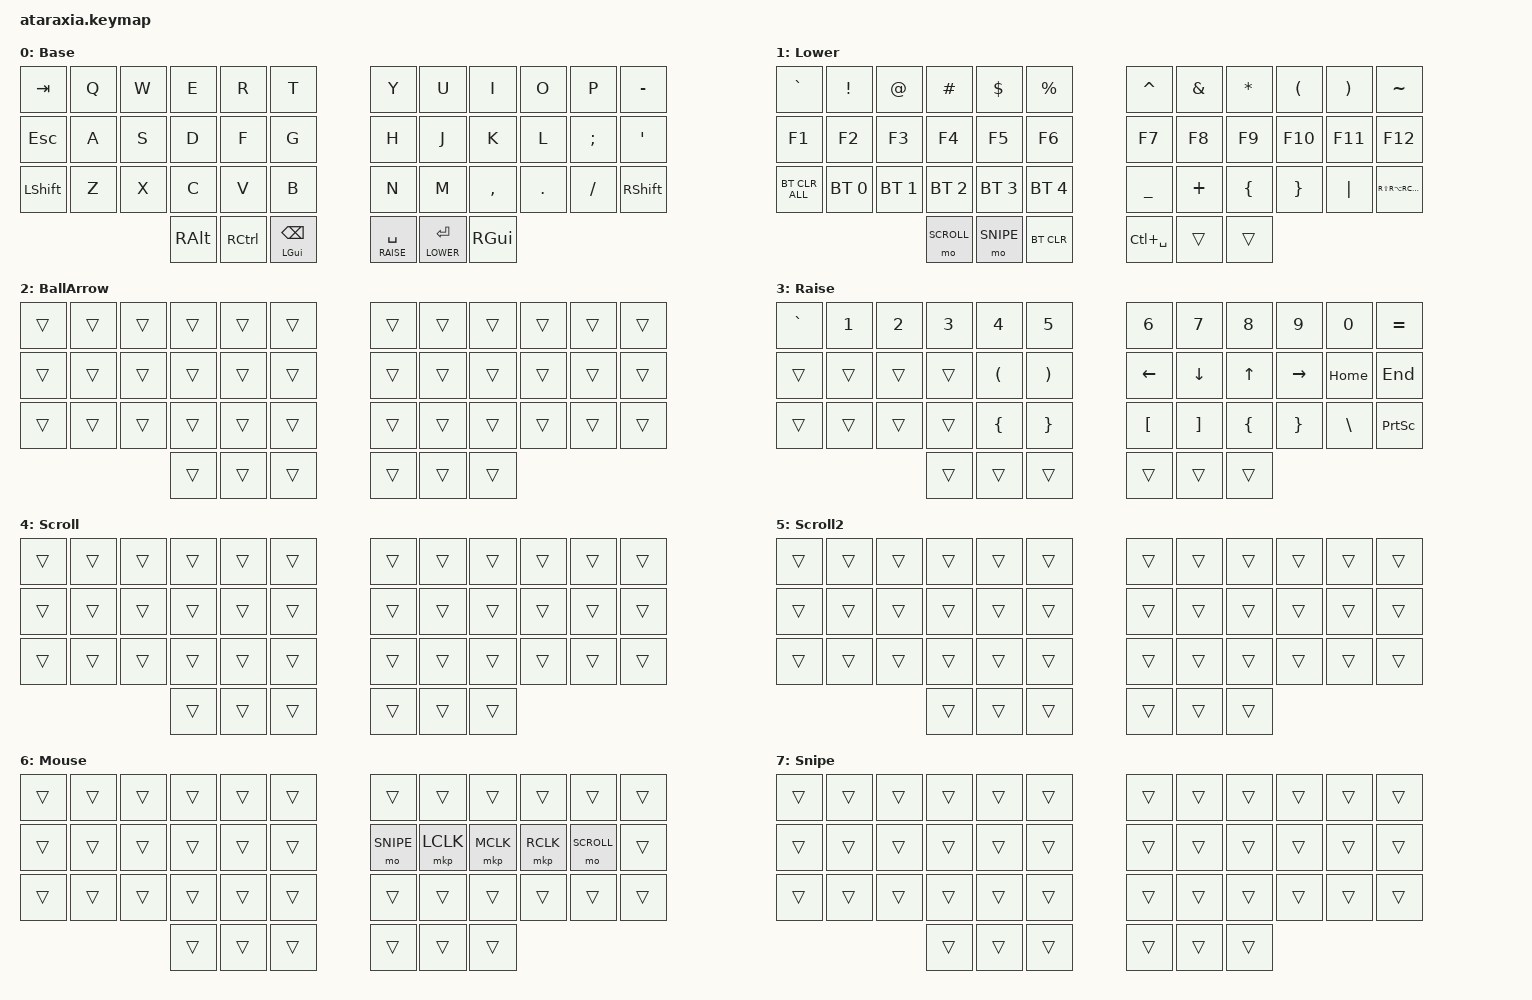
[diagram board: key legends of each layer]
/*
 * Ataraxia v2 (42 keys + PMW3610 trackball)
 *
 * Adapted from the author's Lily58 keymap. The Lily58's bottom three rows map
 * 1:1 onto the Ataraxia's three rows of twelve, so the alphas are untouched.
 * What did not fit -- the number row, the two inner bottom keys and two of the
 * eight thumb keys -- is rehomed on LOWER and RAISE, see the notes below.
 *
 * SPDX-License-Identifier: MIT
 */

#include <input/processors.dtsi>
#include <behaviors.dtsi>
#include <dt-bindings/zmk/bt.h>
#include <dt-bindings/zmk/keys.h>
#include <dt-bindings/zmk/pointing.h>

/*
 * ---------------------------------------------------------------------------
 * LAYER INDICES ARE NOT FREE.
 * ---------------------------------------------------------------------------
 * The PMW3610 driver -- not the input listener -- implements scroll, sniping
 * and ball-as-arrows, and the shield hard-codes which layer index triggers
 * each one. From zmk-keyboards-ataraxia@ataraxia_v2,
 * boards/shields/ataraxia/boards/nice_nano_v2.overlay:
 *
 *     // automouse-layer = <5>;   <- commented out upstream, so unavailable
 *     snipe-layers  = <7>;
 *     scroll-layers = <4 5>;
 *     arrows { layers = <2>; bindings = <&kp RIGHT>, <&kp LEFT>, ... };
 *
 * So SCROLL must be 4 and SNIPE must be 7 to get those behaviours for free.
 * Layer 2 would turn the ball into arrow keys, which is not wanted on a layer
 * held as often as RAISE -- it is left reserved instead. Renumbering these
 * silently changes what the trackball does.
 * ---------------------------------------------------------------------------
 */

#define BASE    0
#define LOWER   1

/*      (2)     reserved -- driver maps ball to arrow keys here */

#define RAISE   3
#define SCROLL  4

/*      (5)     reserved -- driver treats this as a scroll layer too */

#define MOUSE   6
#define SNIPE   7

/* The two hyper keys carried over from the Lily58 layout. */

#define HYP_L   LS(LC(LG(LALT)))
#define HYP_R   RS(RA(RC(RGUI)))

&mt { tapping-term-ms = <180>; };

&lt { tapping-term-ms = <180>; };

/*
 * Moving the ball temporarily activates MOUSE so the right home row becomes
 * mouse buttons. require-prior-idle-ms keeps it from firing mid-word: the ball
 * has to be still for 150ms after the last keystroke before it can take over.
 */

&zip_temp_layer { require-prior-idle-ms = <150>; };

/*
 * The shield declares this listener without a node label, so it can only be
 * reached by path. It sets `input-processors = <&pointer_accel>` -- keep that
 * first so the acceleration curve tuned in the shield still applies.
 */

&{/trackball_listener} {
    input-processors = <&pointer_accel>, <&zip_temp_layer MOUSE 350>;
};

/ {
    combos {
        compatible = "zmk,combos";

        /* Kept from the stock keymap: flash without the reset button. */

        combo_bootloader {
            timeout-ms = <100>;
            key-positions = <2 3 8 9>;
            bindings = <&bootloader>;
        };
    };

    keymap {
        compatible = "zmk,keymap";

        /* ----------------------------------------------------------------
         * 0 BASE -- the Lily58 alpha block, unchanged.
         *
         * Thumbs condense the Lily58's eight into six: the duplicate raise
         * key (&mo 2) is gone, and RET became a layer-tap so LOWER has a
         * home -- on the Lily58 nothing bound &mo 1 and Lower was dead.
         * ---------------------------------------------------------------- */

        base_layer {
            display-name = "Base";
            bindings = <
&kp TAB    &kp Q  &kp W  &kp E     &kp R      &kp T          &kp Y            &kp U          &kp I      &kp O    &kp P     &kp MINUS
&kp ESC    &kp A  &kp S  &kp D     &kp F      &kp G          &kp H            &kp J          &kp K      &kp L    &kp SEMI  &kp SQT
&kp LSHFT  &kp Z  &kp X  &kp C     &kp V      &kp B          &kp N            &kp M          &kp COMMA  &kp DOT  &kp FSLH  &kp RSHFT
                         &kp RALT  &kp RCTRL  &mt LGUI BSPC  &lt RAISE SPACE  &lt LOWER RET  &kp RGUI
            >;
        };

        /* ----------------------------------------------------------------
         * 1 LOWER -- the Lily58 Lower layer folded from four rows into three.
         *
         * Rehomed here: both hyper keys on the outer bottom corners, and
         * LC(SPACE) on Lower + the Space thumb.
         * Left thumbs reach the two trackball modes.
         * ---------------------------------------------------------------- */

        lower_layer {
            display-name = "Lower";
            bindings = <
&kp GRAVE       &kp EXCL      &kp AT        &kp HASH      &kp DLLR      &kp PRCNT     &kp CARET      &kp AMPS  &kp STAR  &kp LPAR  &kp RPAR  &kp TILDE
&kp F1          &kp F2        &kp F3        &kp F4        &kp F5        &kp F6        &kp F7         &kp F8    &kp F9    &kp F10   &kp F11   &kp F12
&bt BT_CLR_ALL  &bt BT_SEL 0  &bt BT_SEL 1  &bt BT_SEL 2  &bt BT_SEL 3  &bt BT_SEL 4  &kp UNDER      &kp PLUS  &kp LBRC  &kp RBRC  &kp PIPE  &kp HYP_R
                                            &mo SCROLL    &mo SNIPE     &bt BT_CLR    &kp LC(SPACE)  &trans    &trans
            >;
        };

        /* ----------------------------------------------------------------
         * 2 BALL_ARROWS -- placeholder. The driver turns the ball into arrow
         * keys whenever this layer is active, so nothing activates it.
         *
         * This MUST be a real layer, not `status = "reserved"`. Reserved
         * layers only count toward ZMK_KEYMAP_LAYERS_LEN when Studio is
         * enabled (keymap.h picks DT_FOREACH_CHILD vs _STATUS_OKAY on
         * CONFIG_ZMK_STUDIO). Without them the keymap has 6 layers, and
         * every index above that is rejected -- zip_temp_layer bails with
         * "Invalid layer index: 6" and &mo SNIPE (7) silently does nothing.
         * ---------------------------------------------------------------- */

        ball_arrows_layer {
            display-name = "BallArrow";
            bindings = <
&trans  &trans  &trans  &trans  &trans  &trans  &trans  &trans  &trans  &trans  &trans  &trans
&trans  &trans  &trans  &trans  &trans  &trans  &trans  &trans  &trans  &trans  &trans  &trans
&trans  &trans  &trans  &trans  &trans  &trans  &trans  &trans  &trans  &trans  &trans  &trans
                        &trans  &trans  &trans  &trans  &trans  &trans
            >;
        };

        /* ----------------------------------------------------------------
         * 3 RAISE -- the number row back in its original columns, so the
         * digits sit exactly where they did on the Lily58, one thumb hold
         * away. Vim arrows on HJKL.
         * ---------------------------------------------------------------- */

        raise_layer {
            display-name = "Raise";
            bindings = <
&kp GRAVE  &kp N1  &kp N2  &kp N3  &kp N4                &kp N5                 &kp N6    &kp N7    &kp N8    &kp N9     &kp N0    &kp EQUAL
&trans     &trans  &trans  &trans  &kp LEFT_PARENTHESIS  &kp RIGHT_PARENTHESIS  &kp LEFT  &kp DOWN  &kp UP    &kp RIGHT  &kp HOME  &kp END
&trans     &trans  &trans  &trans  &kp LEFT_BRACE        &kp RIGHT_BRACE        &kp LBKT  &kp RBKT  &kp LBRC  &kp RBRC   &kp BSLH  &kp PSCRN
                           &trans  &trans                &trans                 &trans    &trans    &trans
            >;
        };

        /* ----------------------------------------------------------------
         * 4 SCROLL -- index fixed by the shield's scroll-layers = <4 5>.
         * Everything is &trans: the driver does the work, and MOUSE (6)
         * outranks this layer so its clicks stay reachable while scrolling.
         * ---------------------------------------------------------------- */

        scroll_layer {
            display-name = "Scroll";
            bindings = <
&trans  &trans  &trans  &trans  &trans  &trans  &trans  &trans  &trans  &trans  &trans  &trans
&trans  &trans  &trans  &trans  &trans  &trans  &trans  &trans  &trans  &trans  &trans  &trans
&trans  &trans  &trans  &trans  &trans  &trans  &trans  &trans  &trans  &trans  &trans  &trans
                        &trans  &trans  &trans  &trans  &trans  &trans
            >;
        };

        /* 5 SCROLL_ALT -- placeholder; scroll-layers = <4 5> makes this a
         * second scroll layer. Real, not reserved, for the reason above. */

        scroll_alt_layer {
            display-name = "Scroll2";
            bindings = <
&trans  &trans  &trans  &trans  &trans  &trans  &trans  &trans  &trans  &trans  &trans  &trans
&trans  &trans  &trans  &trans  &trans  &trans  &trans  &trans  &trans  &trans  &trans  &trans
&trans  &trans  &trans  &trans  &trans  &trans  &trans  &trans  &trans  &trans  &trans  &trans
                        &trans  &trans  &trans  &trans  &trans  &trans
            >;
        };

        /* ----------------------------------------------------------------
         * 6 MOUSE -- activated by moving the ball (zip_temp_layer, above).
         * Right home row becomes the mouse buttons.
         * ---------------------------------------------------------------- */

        mouse_layer {
            display-name = "Mouse";
            bindings = <
&trans  &trans  &trans  &trans  &trans  &trans  &trans     &trans     &trans     &trans     &trans      &trans
&trans  &trans  &trans  &trans  &trans  &trans  &mo SNIPE  &mkp LCLK  &mkp MCLK  &mkp RCLK  &mo SCROLL  &trans
&trans  &trans  &trans  &trans  &trans  &trans  &trans     &trans     &trans     &trans     &trans      &trans
                        &trans  &trans  &trans  &trans     &trans     &trans
            >;
        };

        /* ----------------------------------------------------------------
         * 7 SNIPE -- index fixed by the shield's snipe-layers = <7>.
         * All &trans; the driver slows the ball while this layer is held.
         * ---------------------------------------------------------------- */

        snipe_layer {
            display-name = "Snipe";
            bindings = <
&trans  &trans  &trans  &trans  &trans  &trans  &trans  &trans  &trans  &trans  &trans  &trans
&trans  &trans  &trans  &trans  &trans  &trans  &trans  &trans  &trans  &trans  &trans  &trans
&trans  &trans  &trans  &trans  &trans  &trans  &trans  &trans  &trans  &trans  &trans  &trans
                        &trans  &trans  &trans  &trans  &trans  &trans
            >;
        };
    };
};
